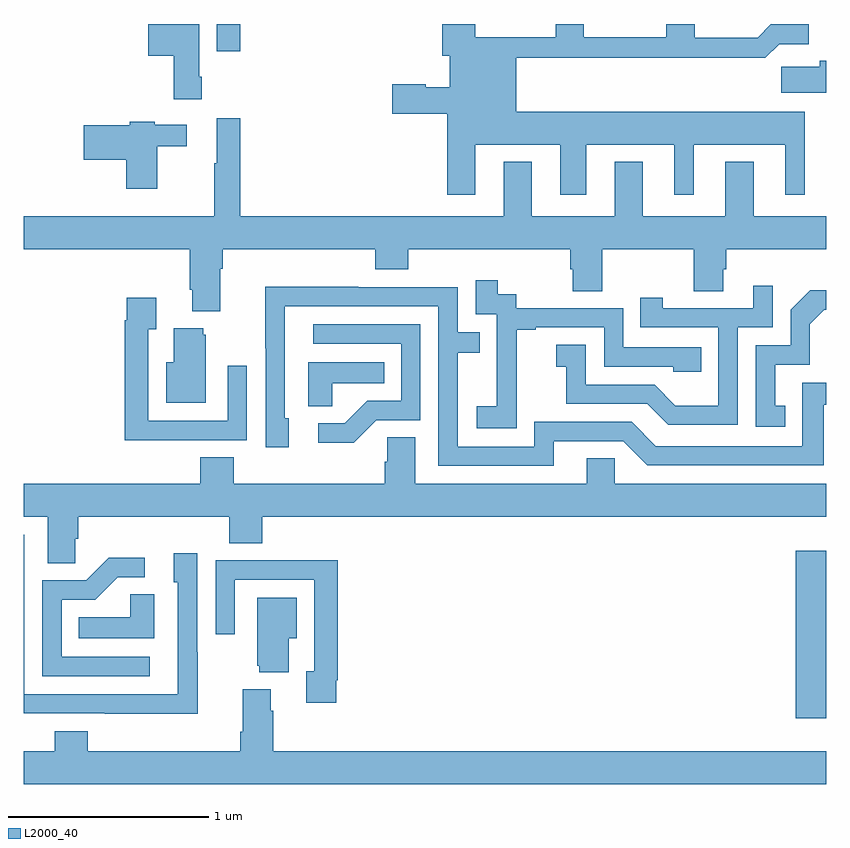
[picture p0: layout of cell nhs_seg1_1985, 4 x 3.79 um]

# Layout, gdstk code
import gdstk
lib = gdstk.Library(unit=1e-6, precision=1e-09)
def R(c, l, rs):  # rectangles x0, y0, x1, y1
    for r in rs: c.add(gdstk.rectangle(r[:2], r[2:], *l))
def P(c, l, *ps):  # polygons
    for p in ps: c.add(gdstk.Polygon(p, *l))
L2000_40 = (2000, 40)

nhs_seg1_1985 = lib.new_cell('nhs_seg1_1985')
R(nhs_seg1_1985, L2000_40, [(222.848,538.74,223,539.575), (219.963,542.064,220.079,542.199)])
P(nhs_seg1_1985, L2000_40, [(219.887,541.936),(219.874,541.936),(219.874,542.199),(219.621,542.199),(219.621,542.042),(219.749,542.042),(219.749,541.824),(219.887,541.824)],
  [(221.251,541.598),(221.675,541.598),(221.675,541.347),(221.803,541.347),(221.803,541.598),(222.242,541.598),(222.242,541.347),(222.34,541.347),(222.34,541.598),(222.794,541.598),(222.794,541.347),(222.892,541.347),(222.892,541.762),(221.455,541.762),(221.455,542.032),(222.439,542.032),(222.439,542.03),(222.695,542.03),(222.764,542.099),(222.913,542.099),(222.913,542.199),(222.773,542.199),(222.773,542.197),(222.724,542.197),(222.657,542.13),(222.343,542.13),(222.343,542.199),(222.203,542.199),(222.203,542.133),(221.791,542.133),(221.791,542.199),(221.651,542.199),(221.651,542.133),(221.251,542.133),(221.251,542.199),(221.087,542.199),(221.087,542.04),(221.123,542.04),(221.123,541.885),(221.003,541.885),(221.003,541.898),(220.836,541.898),(220.836,541.751),(221.111,541.751),(221.111,541.347),(221.251,541.347)],
  [(223,542.017),(222.968,542.017),(222.968,541.985),(222.774,541.985),(222.774,541.856),(223,541.856)],
  [(219.979,540.98),(219.992,540.98),(219.992,541.076),(220.751,541.076),(220.751,540.977),(220.916,540.977),(220.916,541.076),(221.723,541.076),(221.723,540.978),(221.735,540.978),(221.735,540.868),(221.883,540.868),(221.883,541.076),(222.34,541.076),(222.34,540.868),(222.487,540.868),(222.487,540.978),(222.5,540.978),(222.5,541.076),(223,541.076),(223,541.24),(222.637,541.24),(222.637,541.513),(222.497,541.513),(222.497,541.24),(222.085,541.24),(222.085,541.513),(221.945,541.513),(221.945,541.24),(221.533,541.24),(221.533,541.513),(221.393,541.513),(221.393,541.24),(220.079,541.24),(220.079,541.729),(219.962,541.729),(219.962,541.505),(219.951,541.505),(219.951,541.24),(219,541.24),(219,541.076),(219.827,541.076),(219.827,540.874),(219.839,540.874),(219.839,540.767),(219.979,540.767)],
  [(219.666,541.59),(219.814,541.59),(219.814,541.698),(219.654,541.698),(219.654,541.711),(219.528,541.711),(219.528,541.694),(219.3,541.694),(219.3,541.523),(219.512,541.523),(219.512,541.377),(219.666,541.377)],
  [(221.457,540.391),(221.456,540.391),(221.456,540.675),(221.551,540.675),(221.551,540.687),(221.892,540.687),(221.892,540.492),(222.237,540.492),(222.237,540.465),(222.377,540.465),(222.377,540.588),(221.988,540.588),(221.988,540.783),(221.454,540.783),(221.454,540.852),(221.362,540.852),(221.362,540.922),(221.253,540.922),(221.253,540.753),(221.358,540.753),(221.358,540.524),(221.357,540.524),(221.357,540.295),(221.259,540.295),(221.259,540.185),(221.457,540.185)],
  [(222.558,540.687),(222.732,540.687),(222.732,540.895),(222.635,540.895),(222.635,540.783),(222.184,540.783),(222.184,540.835),(222.073,540.835),(222.073,540.687),(222.462,540.687),(222.462,540.298),(222.248,540.298),(222.144,540.402),(221.802,540.402),(221.802,540.601),(221.655,540.601),(221.655,540.491),(221.704,540.491),(221.704,540.306),(222.107,540.306),(222.212,540.201),(222.558,540.201)],
  [(221.641,540.12),(221.988,540.12),(222.108,540),(222.988,540),(222.988,540.303),(223,540.303),(223,540.411),(222.879,540.411),(222.879,540.096),(222.15,540.096),(222.03,540.216),(221.544,540.216),(221.544,540.093),(221.163,540.093),(221.163,540.562),(221.273,540.562),(221.273,540.663),(221.163,540.663),(221.163,540.888),(220.667,540.888),(220.667,540.89),(220.204,540.89),(220.204,540.583),(220.206,540.583),(220.206,540.09),(220.321,540.09),(220.321,540.234),(220.302,540.234),(220.302,540.792),(221.067,540.792),(221.067,539.997),(221.641,539.997)],
  [(222.794,540.297),(222.745,540.297),(222.745,540.501),(222.918,540.501),(222.918,540.702),(222.99,540.774),(223,540.774),(223,540.872),(222.92,540.872),(222.822,540.774),(222.822,540.597),(222.648,540.597),(222.648,540.192),(222.794,540.192)],
  [(219.797,540.126),(220.113,540.126),(220.113,540.496),(220.017,540.496),(220.017,540.222),(219.621,540.222),(219.621,540.679),(219.661,540.679),(219.661,540.835),(219.513,540.835),(219.513,540.722),(219.505,540.722),(219.505,540.125),(219.797,540.125)],
  [(220.758,540.225),(220.977,540.225),(220.977,540.702),(220.443,540.702),(220.443,540.606),(220.881,540.606),(220.881,540.321),(220.712,540.321),(220.601,540.21),(220.467,540.21),(220.467,540.113),(220.645,540.113)],
  [(219.907,540.651),(219.896,540.651),(219.896,540.682),(219.749,540.682),(219.749,540.514),(219.71,540.514),(219.71,540.311),(219.907,540.311)],
  [(220.539,540.41),(220.796,540.41),(220.796,540.514),(220.418,540.514),(220.418,540.295),(220.539,540.295)],
  [(219.258,539.635),(219.272,539.635),(219.272,539.744),(220.025,539.744),(220.025,539.611),(220.19,539.611),(220.19,539.744),(223,539.744),(223,539.908),(221.946,539.908),(221.946,540.035),(221.807,540.035),(221.807,539.908),(220.951,539.908),(220.951,540.14),(220.812,540.14),(220.812,540.017),(220.799,540.017),(220.799,539.908),(220.046,539.908),(220.046,540.041),(219.881,540.041),(219.881,539.908),(219,539.908),(219,539.744),(219.119,539.744),(219.119,539.512),(219.258,539.512)],
  [(219.867,539.069),(219.864,539.069),(219.864,539.563),(219.749,539.563),(219.749,539.418),(219.768,539.418),(219.768,538.86),(219.003,538.86),(219.003,539.655),(219,539.655),(219,538.764),(219.403,538.764),(219.403,538.763),(219.867,538.763)],
  [(219.628,539.046),(219.189,539.046),(219.189,539.331),(219.358,539.331),(219.469,539.442),(219.604,539.442),(219.604,539.54),(219.425,539.54),(219.312,539.427),(219.093,539.427),(219.093,538.95),(219.628,538.95)],
  [(220.558,538.93),(220.565,538.93),(220.565,539.528),(220.273,539.528),(220.273,539.526),(219.957,539.526),(219.957,539.157),(220.053,539.157),(220.053,539.43),(220.449,539.43),(220.449,538.974),(220.409,538.974),(220.409,538.818),(220.558,538.818)],
  [(219.652,539.357),(219.531,539.357),(219.531,539.242),(219.274,539.242),(219.274,539.138),(219.652,539.138)],
  [(220.321,539.138),(220.36,539.138),(220.36,539.341),(220.163,539.341),(220.163,539.001),(220.175,539.001),(220.175,538.97),(220.321,538.97)],
  [(223,538.576),(220.244,538.576),(220.244,538.778),(220.231,538.778),(220.231,538.885),(220.091,538.885),(220.091,538.672),(220.079,538.672),(220.079,538.576),(219.32,538.576),(219.32,538.675),(219.155,538.675),(219.155,538.576),(219,538.576),(219,538.412),(223,538.412)])

lib.write_gds('nhs_seg1_1985.gds')
